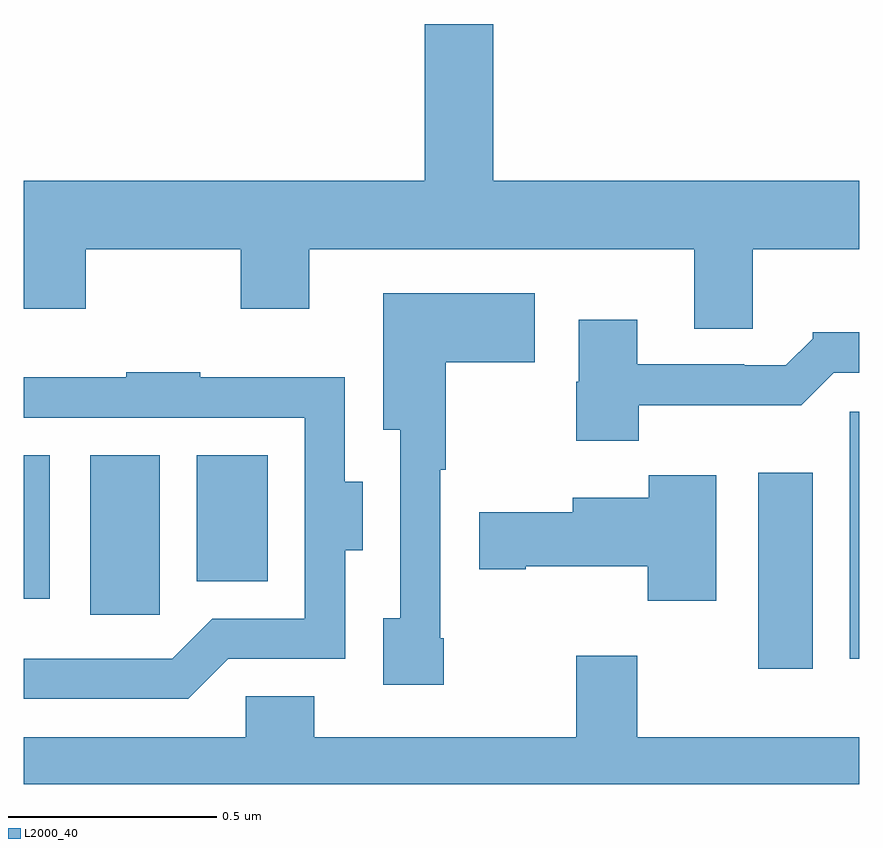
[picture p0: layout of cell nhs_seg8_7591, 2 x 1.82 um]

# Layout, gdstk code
import gdstk
lib = gdstk.Library(unit=1e-6, precision=1e-09)
def R(c, l, rs):  # rectangles x0, y0, x1, y1
    for r in rs: c.add(gdstk.rectangle(r[:2], r[2:], *l))
def P(c, l, *ps):  # polygons
    for p in ps: c.add(gdstk.Polygon(p, *l))
L2000_40 = (2000, 40)

nhs_seg8_7591 = lib.new_cell('nhs_seg8_7591')
R(nhs_seg8_7591, L2000_40, [(213.758,1102.176,213.889,1102.645), (213.977,1102.2,214,1102.791), (212.159,1102.305,212.326,1102.687), (212,1102.343,212.062,1102.687), (212.414,1102.385,212.584,1102.687)])
P(nhs_seg8_7591, L2000_40, [(213.745,1103.18),(214,1103.18),(214,1103.344),(213.124,1103.344),(213.124,1103.719),(212.96,1103.719),(212.96,1103.344),(212,1103.344),(212,1103.037),(212.149,1103.037),(212.149,1103.18),(212.519,1103.18),(212.519,1103.037),(212.683,1103.037),(212.683,1103.18),(213.605,1103.18),(213.605,1102.99),(213.745,1102.99)],
  [(213.005,1102.249),(212.997,1102.249),(212.997,1102.652),(213.01,1102.652),(213.01,1102.909),(213.223,1102.909),(213.223,1103.074),(212.861,1103.074),(212.861,1102.748),(212.901,1102.748),(212.901,1102.297),(212.861,1102.297),(212.861,1102.137),(213.005,1102.137)],
  [(213.472,1102.806),(213.861,1102.806),(213.939,1102.884),(214,1102.884),(214,1102.981),(213.888,1102.981),(213.888,1102.966),(213.824,1102.902),(213.725,1102.902),(213.725,1102.905),(213.469,1102.905),(213.469,1103.011),(213.329,1103.011),(213.329,1102.863),(213.322,1102.863),(213.322,1102.721),(213.472,1102.721)],
  [(212.49,1102.2),(212.77,1102.2),(212.77,1102.46),(212.812,1102.46),(212.812,1102.624),(212.769,1102.624),(212.769,1102.873),(212.423,1102.873),(212.423,1102.885),(212.245,1102.885),(212.245,1102.873),(212,1102.873),(212,1102.776),(212.673,1102.776),(212.673,1102.296),(212.451,1102.296),(212.355,1102.2),(212,1102.2),(212,1102.104),(212.394,1102.104)],
  [(213.658,1102.639),(213.496,1102.639),(213.496,1102.585),(213.314,1102.585),(213.314,1102.551),(213.09,1102.551),(213.09,1102.414),(213.202,1102.414),(213.202,1102.421),(213.494,1102.421),(213.494,1102.338),(213.658,1102.338)],
  [(214,1102.012),(213.469,1102.012),(213.469,1102.207),(213.322,1102.207),(213.322,1102.012),(212.696,1102.012),(212.696,1102.11),(212.532,1102.11),(212.532,1102.012),(212,1102.012),(212,1101.9),(214,1101.9)])

lib.write_gds('nhs_seg8_7591.gds')
